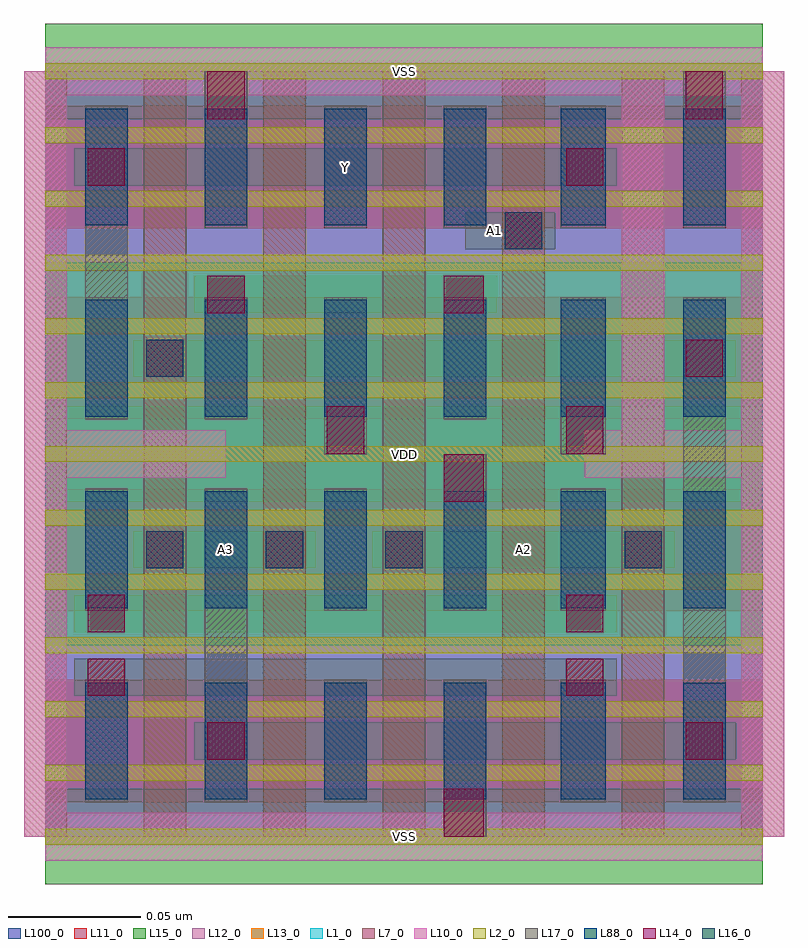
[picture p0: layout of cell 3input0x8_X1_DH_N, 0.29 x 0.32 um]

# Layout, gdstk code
import gdstk
lib = gdstk.Library(unit=1e-6, precision=1e-09)
def R(c, l, rs):  # rectangles x0, y0, x1, y1
    for r in rs: c.add(gdstk.rectangle(r[:2], r[2:], *l))
def A(c, l, x, y, w, h, nx, ny, dx, dy):  # array of equal rectangles
    R(c, l, [(x+i*dx, y+j*dy, x+i*dx+w, y+j*dy+h) for i in range(nx) for j in range(ny)])
def P(c, l, *ps):  # polygons
    for p in ps: c.add(gdstk.Polygon(p, *l))
L1_0 = (1, 0)
L2_0 = (2, 0)
L7_0 = (7, 0)
L10_0 = (10, 0)
L11_0 = (11, 0)
L12_0 = (12, 0)
L13_0 = (13, 0)
L14_0 = (14, 0)
L15_0 = (15, 0)
L16_0 = (16, 0)
L17_0 = (17, 0)
L88_0 = (88, 0)
L100_0 = (100, 0)

c_3input0x8_x1_dh_n = lib.new_cell('3input0x8_X1_DH_N')
R(c_3input0x8_x1_dh_n, L1_0, [(0,0.072,0.27,0.144), (0,0.144,0.27,0.216)])
A(c_3input0x8_x1_dh_n, L2_0, 0, -0.003, 0.27, 0.006, 1, 13, 0, 0.024)
A(c_3input0x8_x1_dh_n, L7_0, -0.008, 0, 0.016, 0.288, 7, 1, 0.045, 0)
P(c_3input0x8_x1_dh_n, L10_0, [(0,-0.009),(0,0),(-0.008,0),(-0.008,0.279),(0.008,0.279),(0.008,0.153),(0.068,0.153),(0.068,0.135),(0.008,0.135),(0.008,0.009),(0.262,0.009),(0.262,0.135),(0.203,0.135),(0.203,0.153),(0.217,0.153),(0.217,0.279),(0.233,0.279),(0.233,0.153),(0.262,0.153),(0.262,0.279),(-0.008,0.279),(-0.008,0.288),(0,0.288),(0,0.297),(0.27,0.297),(0.27,0.288),(0.278,0.288),(0.278,0),(0.27,0),(0.27,-0.009)])
A(c_3input0x8_x1_dh_n, L11_0, 0, 0.013, 0.27, 0.046, 1, 4, 0, 0.072)
R(c_3input0x8_x1_dh_n, L12_0, [(0,0,0.27,0.072), (0,0.216,0.27,0.288)])
R(c_3input0x8_x1_dh_n, L13_0, [(0,0.072,0.27,0.144), (0,0.144,0.27,0.216)])
A(c_3input0x8_x1_dh_n, L14_0, 0.038, 0.101, 0.014, 0.014, 3, 1, 0.045, 0)
R(c_3input0x8_x1_dh_n, L14_0, [(0.15,0,0.165,0.018), (0.061,0.029,0.075,0.043), (0.241,0.029,0.255,0.043), (0.016,0.053,0.03,0.067), (0.196,0.053,0.21,0.067), (0.016,0.077,0.03,0.091), (0.196,0.077,0.21,0.091), (0.218,0.101,0.232,0.115), (0.15,0.126,0.165,0.144), (0.106,0.144,0.12,0.162), (0.196,0.144,0.21,0.162), (0.038,0.173,0.052,0.187), (0.241,0.173,0.255,0.187), (0.061,0.197,0.075,0.211), (0.15,0.197,0.165,0.211), (0.173,0.221,0.187,0.235), (0.016,0.245,0.03,0.259), (0.196,0.245,0.21,0.259), (0.061,0.27,0.075,0.288), (0.241,0.27,0.255,0.288)])
A(c_3input0x8_x1_dh_n, L15_0, 0, -0.018, 0.27, 0.036, 1, 3, 0, 0.144)
R(c_3input0x8_x1_dh_n, L15_0, [(0.056,0.029,0.26,0.043), (0.011,0.053,0.215,0.067), (0.011,0.077,0.215,0.091), (0.033,0.101,0.102,0.115), (0.123,0.101,0.237,0.115), (0.033,0.173,0.26,0.187), (0.056,0.197,0.17,0.211), (0.158,0.221,0.192,0.235), (0.011,0.245,0.215,0.259)])
A(c_3input0x8_x1_dh_n, L16_0, 0.038, 0.101, 0.014, 0.014, 3, 1, 0.045, 0)
R(c_3input0x8_x1_dh_n, L16_0, [(0.218,0.101,0.232,0.115), (0.038,0.173,0.052,0.187), (0.173,0.221,0.187,0.235)])
R(c_3input0x8_x1_dh_n, L17_0, [(0.15,0,0.166,0.059), (0.015,0.013,0.031,0.059), (0.06,0.013,0.076,0.131), (0.105,0.013,0.121,0.059), (0.194,0.013,0.211,0.059), (0.24,0.013,0.256,0.203), (0.015,0.085,0.031,0.131), (0.105,0.085,0.121,0.131), (0.15,0.085,0.166,0.144), (0.194,0.085,0.211,0.131), (0.105,0.144,0.121,0.203), (0.194,0.144,0.211,0.203), (0.015,0.157,0.031,0.275), (0.06,0.157,0.076,0.203), (0.15,0.157,0.166,0.203), (0.06,0.229,0.076,0.288), (0.105,0.229,0.121,0.275), (0.15,0.229,0.166,0.275), (0.194,0.229,0.211,0.275), (0.24,0.229,0.256,0.288)])
A(c_3input0x8_x1_dh_n, L88_0, 0.015, 0.014, 0.016, 0.044, 4, 4, 0.045, 0.072)
A(c_3input0x8_x1_dh_n, L88_0, 0.194, 0.014, 0.017, 0.044, 1, 4, 0, 0.072)
A(c_3input0x8_x1_dh_n, L88_0, 0.24, 0.014, 0.016, 0.044, 1, 4, 0, 0.072)
R(c_3input0x8_x1_dh_n, L100_0, [(0,0,0.27,0.288)])
c_3input0x8_x1_dh_n.add(gdstk.Label('A1', (0.169,0.228), layer=15, texttype=251))
c_3input0x8_x1_dh_n.add(gdstk.Label('VSS', (0.135,0), layer=15, texttype=251))
c_3input0x8_x1_dh_n.add(gdstk.Label('VDD', (0.135,0.144), layer=15, texttype=251))
c_3input0x8_x1_dh_n.add(gdstk.Label('VDD', (0.135,0.144), layer=15, texttype=251))
c_3input0x8_x1_dh_n.add(gdstk.Label('VSS', (0.135,0.288), layer=15, texttype=251))
c_3input0x8_x1_dh_n.add(gdstk.Label('Y', (0.113,0.252), layer=15, texttype=251))
c_3input0x8_x1_dh_n.add(gdstk.Label('VSS', (0.135,0), layer=15, texttype=251))
c_3input0x8_x1_dh_n.add(gdstk.Label('VDD', (0.135,0.144), layer=15, texttype=251))
c_3input0x8_x1_dh_n.add(gdstk.Label('VDD', (0.135,0.144), layer=15, texttype=251))
c_3input0x8_x1_dh_n.add(gdstk.Label('VSS', (0.135,0.288), layer=15, texttype=251))
c_3input0x8_x1_dh_n.add(gdstk.Label('A2', (0.18,0.108), layer=15, texttype=251))
c_3input0x8_x1_dh_n.add(gdstk.Label('VSS', (0.135,0), layer=15, texttype=251))
c_3input0x8_x1_dh_n.add(gdstk.Label('VDD', (0.135,0.144), layer=15, texttype=251))
c_3input0x8_x1_dh_n.add(gdstk.Label('VDD', (0.135,0.144), layer=15, texttype=251))
c_3input0x8_x1_dh_n.add(gdstk.Label('VSS', (0.135,0.288), layer=15, texttype=251))
c_3input0x8_x1_dh_n.add(gdstk.Label('A3', (0.068,0.108), layer=15, texttype=251))
c_3input0x8_x1_dh_n.add(gdstk.Label('VSS', (0.135,0), layer=15, texttype=251))
c_3input0x8_x1_dh_n.add(gdstk.Label('VDD', (0.135,0.144), layer=15, texttype=251))
c_3input0x8_x1_dh_n.add(gdstk.Label('VDD', (0.135,0.144), layer=15, texttype=251))
c_3input0x8_x1_dh_n.add(gdstk.Label('VSS', (0.135,0.288), layer=15, texttype=251))
c_3input0x8_x1_dh_n.add(gdstk.Label('VSS', (0.135,0), layer=3, texttype=251))
c_3input0x8_x1_dh_n.add(gdstk.Label('VSS', (0.135,0.288), layer=3, texttype=251))
c_3input0x8_x1_dh_n.add(gdstk.Label('VSS', (0.135,0), layer=3, texttype=251))
c_3input0x8_x1_dh_n.add(gdstk.Label('VSS', (0.135,0.288), layer=3, texttype=251))
c_3input0x8_x1_dh_n.add(gdstk.Label('VSS', (0.135,0), layer=3, texttype=251))
c_3input0x8_x1_dh_n.add(gdstk.Label('VSS', (0.135,0.288), layer=3, texttype=251))
c_3input0x8_x1_dh_n.add(gdstk.Label('VSS', (0.135,0), layer=3, texttype=251))
c_3input0x8_x1_dh_n.add(gdstk.Label('VSS', (0.135,0.288), layer=3, texttype=251))
c_3input0x8_x1_dh_n.add(gdstk.Label('VDD', (0.135,0.144), layer=1, texttype=251))
c_3input0x8_x1_dh_n.add(gdstk.Label('VDD', (0.135,0.144), layer=1, texttype=251))
c_3input0x8_x1_dh_n.add(gdstk.Label('VDD', (0.135,0.144), layer=1, texttype=251))
c_3input0x8_x1_dh_n.add(gdstk.Label('VDD', (0.135,0.144), layer=1, texttype=251))
c_3input0x8_x1_dh_n.add(gdstk.Label('VDD', (0.135,0.144), layer=1, texttype=251))
c_3input0x8_x1_dh_n.add(gdstk.Label('VDD', (0.135,0.144), layer=1, texttype=251))
c_3input0x8_x1_dh_n.add(gdstk.Label('VDD', (0.135,0.144), layer=1, texttype=251))
c_3input0x8_x1_dh_n.add(gdstk.Label('VDD', (0.135,0.144), layer=1, texttype=251))

lib.write_gds('3input0x8_X1_DH_N.gds')
